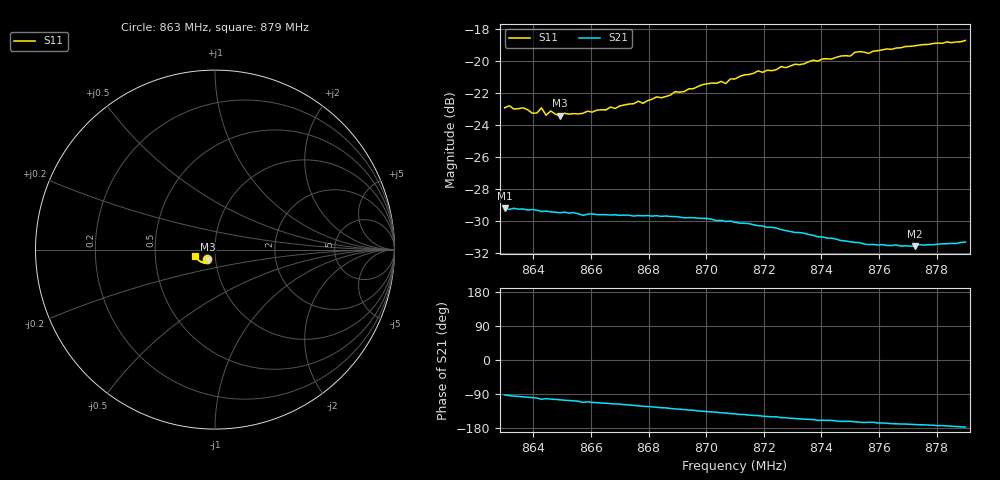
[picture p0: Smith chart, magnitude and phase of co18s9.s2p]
# HZ S RI R 50
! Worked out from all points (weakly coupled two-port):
!   101 points, 863 MHz to 879 MHz, reference 50 ohm
!   highest |S21| = -29.20 dB at 863 MHz (marker M1); lowest = -31.6 dB at 877.24 MHz (marker M2)
!   lowest |S11| = -23.4 dB at 864.92 MHz (marker M3), VSWR 1.14, Z = 46 - j5.12 ohm
!   |S11| at or under -10 dB: start of sweep to end of sweep
!   S12 and S22 are empty: the file has one direction only
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8.63e8  -0.0457 -0.0548  -0.00128 -0.0347  0 0  0 0
8.6364e8  -0.0444 -0.0558  -0.00443 -0.0342  0 0  0 0
8.6396e8  -0.0413 -0.0549  -0.00556 -0.0339  0 0  0 0
8.6412e8  -0.0403 -0.0556  -0.00612 -0.0337  0 0  0 0
8.6428e8  -0.0431 -0.0568  -0.00791 -0.033  0 0  0 0
8.6444e8  -0.0392 -0.0551  -0.0071 -0.0332  0 0  0 0
8.646e8  -0.0406 -0.0567  -0.00764 -0.0329  0 0  0 0
8.6492e8  -0.0384 -0.0554  -0.00872 -0.0325  0 0  0 0
8.6572e8  -0.0366 -0.058  -0.0122 -0.0306  0 0  0 0
8.6844e8  -0.0383 -0.0664  -0.0192 -0.0265  0 0  0 0
8.6988e8  -0.0449 -0.0713  -0.0229 -0.0228  0 0  0 0
8.7052e8  -0.0483 -0.0715  -0.0241 -0.0207  0 0  0 0
8.7068e8  -0.0473 -0.0705  -0.0241 -0.0204  0 0  0 0
8.7084e8  -0.0514 -0.0712  -0.0248 -0.0197  0 0  0 0
8.71e8  -0.0501 -0.0721  -0.0247 -0.0193  0 0  0 0
8.718e8  -0.0569 -0.0736  -0.0256 -0.0168  0 0  0 0
8.7228e8  -0.0591 -0.072  -0.0262 -0.0151  0 0  0 0
8.7372e8  -0.0693 -0.0726  -0.0264 -0.011  0 0  0 0
8.7532e8  -0.0848 -0.0649  -0.026 -0.00755  0 0  0 0
8.7644e8  -0.0914 -0.0586  -0.026 -0.00546  0 0  0 0
8.7724e8  -0.098 -0.0527  -0.026 -0.00453  0 0  0 0
8.79e8  -0.1093 -0.0379  -0.0272 -0.00148  0 0  0 0
